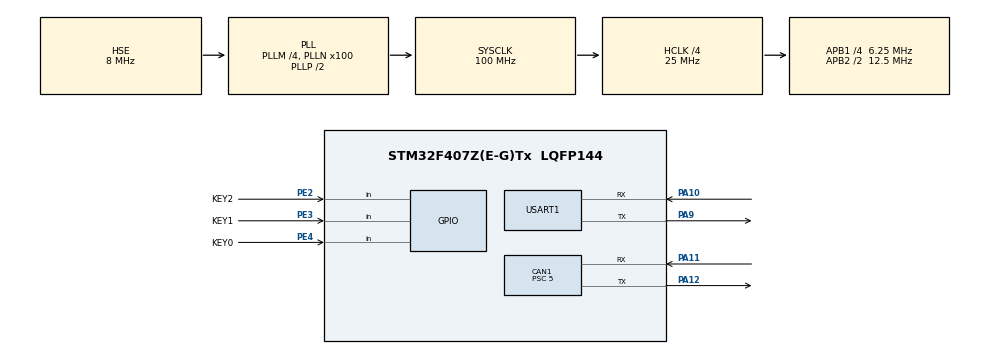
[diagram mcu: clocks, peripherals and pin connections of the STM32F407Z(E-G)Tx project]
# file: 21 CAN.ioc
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CAN1.AWUM=ENABLE
CAN1.BS1=CAN_BS1_4TQ
CAN1.BS2=CAN_BS2_3TQ
CAN1.CalculateBaudRate=156250
CAN1.CalculateTimeBit=6400
CAN1.CalculateTimeQuantum=800.0
CAN1.Mode=CAN_MODE_NORMAL
CAN1.NART=DISABLE
CAN1.Prescaler=5
Mcu.Family=STM32F4
Mcu.Name=STM32F407Z(E-G)Tx
Mcu.Package=LQFP144
NVIC.CAN1_RX0_IRQn=true\:1\:1\:true\:false\:true\:true\:true\:true
NVIC.CAN1_TX_IRQn=true\:1\:0\:true\:false\:true\:true\:true\:true
NVIC.PriorityGroup=NVIC_PRIORITYGROUP_2
PA10.Mode=Asynchronous
PA10.Signal=USART1_RX
PA11.Mode=CAN_Activate
PA11.Signal=CAN1_RX
PA12.Mode=CAN_Activate
PA12.Signal=CAN1_TX
PA13.Mode=Serial_Wire
PA13.Signal=SYS_JTMS-SWDIO
PA14.Mode=Serial_Wire
PA14.Signal=SYS_JTCK-SWCLK
PA9.Mode=Asynchronous
PA9.Signal=USART1_TX
PC14-OSC32_IN.Mode=LSE-External-Oscillator
PC14-OSC32_IN.Signal=RCC_OSC32_IN
PC15-OSC32_OUT.Mode=LSE-External-Oscillator
PC15-OSC32_OUT.Signal=RCC_OSC32_OUT
PE2.GPIO_Label=KEY2
PE2.GPIO_PuPd=GPIO_PULLUP
PE2.Signal=GPIO_Input
PE3.GPIO_Label=KEY1
PE3.GPIO_PuPd=GPIO_PULLUP
PE3.Signal=GPIO_Input
PE4.GPIO_Label=KEY0
PE4.GPIO_PuPd=GPIO_PULLUP
PE4.Signal=GPIO_Input
PH0-OSC_IN.Mode=HSE-External-Oscillator
PH0-OSC_IN.Signal=RCC_OSC_IN
PH1-OSC_OUT.Mode=HSE-External-Oscillator
PH1-OSC_OUT.Signal=RCC_OSC_OUT
ProjectManager.HeapSize=0x200
ProjectManager.StackSize=0x400
ProjectManager.TargetToolchain=MDK-ARM V5.32
RCC.48MHZClocksFreq_Value=50000000
RCC.AHBCLKDivider=RCC_SYSCLK_DIV4
RCC.AHBFreq_Value=25000000
RCC.APB1CLKDivider=RCC_HCLK_DIV4
RCC.APB1Freq_Value=6250000
RCC.APB1TimFreq_Value=12500000
RCC.APB2CLKDivider=RCC_HCLK_DIV2
RCC.APB2Freq_Value=12500000
RCC.APB2TimFreq_Value=25000000
RCC.CortexFreq_Value=25000000
RCC.HCLKFreq_Value=25000000
RCC.HSE_VALUE=8000000
RCC.HSI_VALUE=16000000
RCC.PLLM=4
RCC.PLLN=100
RCC.PLLSourceVirtual=RCC_PLLSOURCE_HSE
RCC.SYSCLKFreq_VALUE=100000000
RCC.SYSCLKSource=RCC_SYSCLKSOURCE_PLLCLK
RCC.VCOOutputFreq_Value=200000000
USART1.VirtualMode=VM_ASYNC
board=custom

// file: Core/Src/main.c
/* USER CODE BEGIN Header */
/**
  ******************************************************************************
  * @file           : main.c
  * @brief          : Main program body
  ******************************************************************************
  * @attention
  *
  * Copyright (c) 2024 STMicroelectronics.
  * All rights reserved.
  *
  * This software is licensed under terms that can be found in the LICENSE file
  * in the root directory of this software component.
  * If no LICENSE file comes with this software, it is provided AS-IS.
  *
  ******************************************************************************
  */
/* USER CODE END Header */
#include "main.h"
#include "can.h"
#include "usart.h"
#include "gpio.h"

/* USER CODE BEGIN Includes */
#include "stdio.h"

#ifdef __GNUC__
#define PUTCHAR_PROTOTYPE int __io_putchar(int ch)
#else
#define PUTCHAR_PROTOTYPE int fputc(int ch, FILE *f)
#endif
PUTCHAR_PROTOTYPE
{
      HAL_UART_Transmit(&huart1, (uint8_t *)&ch, 1, HAL_MAX_DELAY);
      return ch;
}
/* USER CODE END Includes */

void SystemClock_Config(void);

int main(void)
{

  /* MCU Configuration--------------------------------------------------------*/

  /* Reset of all peripherals, Initializes the Flash interface and the Systick. */
  HAL_Init();

  /* Configure the system clock */
  SystemClock_Config();

  /* Initialize all configured peripherals */
  MX_GPIO_Init();
  MX_USART1_UART_Init();
  MX_CAN1_Init();
  /* USER CODE BEGIN 2 */
	printf("----- CAN Test Board #1 -----\r\n");
	//设置筛选器
	if (CAN_SetFilters() == HAL_OK)
		printf("ID Filter: Only Odd IDs\r\n");
	//启动CAN1模块
	if (HAL_CAN_Start(&hcan1) == HAL_OK)
		printf("CAN is started\r\n");
	//启用CAN发送/接收中断
	if(HAL_CAN_ActivateNotification(&hcan1, CAN_IT_RX_FIFO0_MSG_PENDING | CAN_IT_TX_MAILBOX_EMPTY) != HAL_OK)
	{
		printf("CAN_IT_RX_FIFO0_MSG_PENDING Enable Fail\r\n");
    Error_Handler();
	}

  /* USER CODE END 2 */

  /* Infinite loop */
  /* USER CODE BEGIN WHILE */
	uint32_t msg_id=0;
	uint8_t data[4] = {0x01, 0x02, 0x03, 0x04};
  while (1)
  {
    /* USER CODE END WHILE */

    /* USER CODE BEGIN 3 */
		/*按键KEY2按下*/
		if(HAL_GPIO_ReadPin(KEY2_GPIO_Port,KEY2_Pin) == GPIO_PIN_RESET)
		{
			HAL_Delay(50);
			if(HAL_GPIO_ReadPin(KEY2_GPIO_Port,KEY2_Pin) == GPIO_PIN_RESET)
			{
				for(uint16_t i =0;i<4;i++)
					data[i]++;
				CAN1_Send_Test(msg_id++,data);
				while(!HAL_GPIO_ReadPin(KEY2_GPIO_Port,KEY2_Pin));
			}
		}
  }
  /* USER CODE END 3 */
}

void SystemClock_Config(void)
{
  RCC_OscInitTypeDef RCC_OscInitStruct = {0};
  RCC_ClkInitTypeDef RCC_ClkInitStruct = {0};

  /** Configure the main internal regulator output voltage
  */
  __HAL_RCC_PWR_CLK_ENABLE();
  __HAL_PWR_VOLTAGESCALING_CONFIG(PWR_REGULATOR_VOLTAGE_SCALE1);

  /** Initializes the RCC Oscillators according to the specified parameters
  * in the RCC_OscInitTypeDef structure.
  */
  RCC_OscInitStruct.OscillatorType = RCC_OSCILLATORTYPE_HSE;
  RCC_OscInitStruct.HSEState = RCC_HSE_ON;
  RCC_OscInitStruct.PLL.PLLState = RCC_PLL_ON;
  RCC_OscInitStruct.PLL.PLLSource = RCC_PLLSOURCE_HSE;
  RCC_OscInitStruct.PLL.PLLM = 4;
  RCC_OscInitStruct.PLL.PLLN = 100;
  RCC_OscInitStruct.PLL.PLLP = RCC_PLLP_DIV2;
  RCC_OscInitStruct.PLL.PLLQ = 4;
  if (HAL_RCC_OscConfig(&RCC_OscInitStruct) != HAL_OK)
  {
    Error_Handler();
  }

  /** Initializes the CPU, AHB and APB buses clocks
  */
  RCC_ClkInitStruct.ClockType = RCC_CLOCKTYPE_HCLK|RCC_CLOCKTYPE_SYSCLK
                              |RCC_CLOCKTYPE_PCLK1|RCC_CLOCKTYPE_PCLK2;
  RCC_ClkInitStruct.SYSCLKSource = RCC_SYSCLKSOURCE_PLLCLK;
  RCC_ClkInitStruct.AHBCLKDivider = RCC_SYSCLK_DIV4;
  RCC_ClkInitStruct.APB1CLKDivider = RCC_HCLK_DIV4;
  RCC_ClkInitStruct.APB2CLKDivider = RCC_HCLK_DIV2;

  if (HAL_RCC_ClockConfig(&RCC_ClkInitStruct, FLASH_LATENCY_0) != HAL_OK)
  {
    Error_Handler();
  }
}

void Error_Handler(void)
{
  __disable_irq();
  while (1)
  {
  }
}
